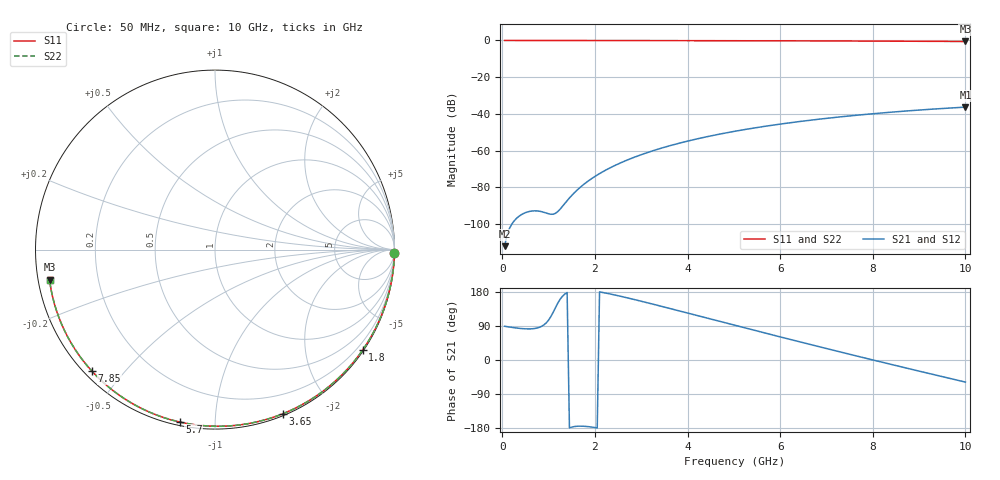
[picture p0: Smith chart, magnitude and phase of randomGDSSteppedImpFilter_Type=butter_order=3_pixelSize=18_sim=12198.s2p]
! freq	dB(S11)	phase(S11)	dB(S12)	phase(S12)
!  dB(S21)	phase(S21)	dB(S22)	phase(S22)
!S-par simulation data
#  GHz  S  DB  R 50
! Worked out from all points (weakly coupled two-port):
!   200 points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, 50 MHz to 10 GHz, reference 50 ohm
!   highest |S21| = -36.30 dB at 10 GHz (marker M1); lowest = -112.0 dB at 50 MHz (marker M2)
!   lowest |S11| = -0.6 dB at 10 GHz (marker M3), VSWR 30.81, Z = 1.64 - j4.5 ohm
!   |S11| at or under -10 dB: nowhere
!   |S22| runs from -0.6 to 0.0 dB; largest |S21 - S12| = 0
!   S11 on the Smith chart (normalised r, x): 50 MHz: open; 1.8 GHz: 0.03, -3.24; 3.65 GHz: 0.02, -1.49; 5.7 GHz: 0.02, -0.82; 7.85 GHz: 0.02, -0.41; 10 GHz: 0.03, -0.09
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0.05  -0.00 -1.0  -111.98 89.0  -111.98 89.0  -0.00 -1.0
0.45  -0.01 -8.7  -94.29 82.6  -94.29 82.6  -0.01 -8.7
0.85  -0.02 -16.4  -93.20 88.9  -93.20 88.9  -0.02 -16.4
1.65  -0.04 -31.5  -80.66 -174.6  -80.66 -174.6  -0.04 -31.5
1.7  -0.04 -32.4  -79.57 -174.6  -79.57 -174.6  -0.04 -32.4
1.75  -0.04 -33.4  -78.53 -174.8  -78.53 -174.8  -0.04 -33.4
1.8  -0.04 -34.3  -77.54 -175.2  -77.54 -175.2  -0.04 -34.3
2.1  -0.05 -39.8  -72.48 179.8  -72.48 179.8  -0.05 -39.8
2.5  -0.06 -47.2  -67.25 169.7  -67.25 169.7  -0.06 -47.2
2.9  -0.07 -54.4  -63.10 158.1  -63.10 158.1  -0.07 -54.4
3.4  -0.08 -63.2  -58.88 142.8  -58.88 142.8  -0.08 -63.2
3.65  -0.09 -67.6  -57.07 135.0  -57.07 135.0  -0.09 -67.6
4.35  -0.11 -79.5  -52.77 112.9  -52.77 112.9  -0.11 -79.5
5.05  -0.14 -91.1  -49.30 90.7  -49.30 90.7  -0.14 -91.1
5.7  -0.17 -101.6  -46.63 70.3  -46.63 70.3  -0.17 -101.6
6.2  -0.20 -109.6  -44.84 54.8  -44.84 54.8  -0.20 -109.6
6.7  -0.23 -117.4  -43.26 39.4  -43.26 39.4  -0.23 -117.4
7.25  -0.27 -126.0  -41.72 22.7  -41.72 22.7  -0.27 -126.0
7.85  -0.32 -135.3  -40.23 4.6  -40.23 4.6  -0.32 -135.3
8.35  -0.37 -143.1  -39.14 -10.3  -39.14 -10.3  -0.37 -143.1
9.2  -0.46 -156.5  -37.53 -35.2  -37.53 -35.2  -0.46 -156.5
10  -0.56 -169.7  -36.30 -58.3  -36.30 -58.3  -0.56 -169.7
